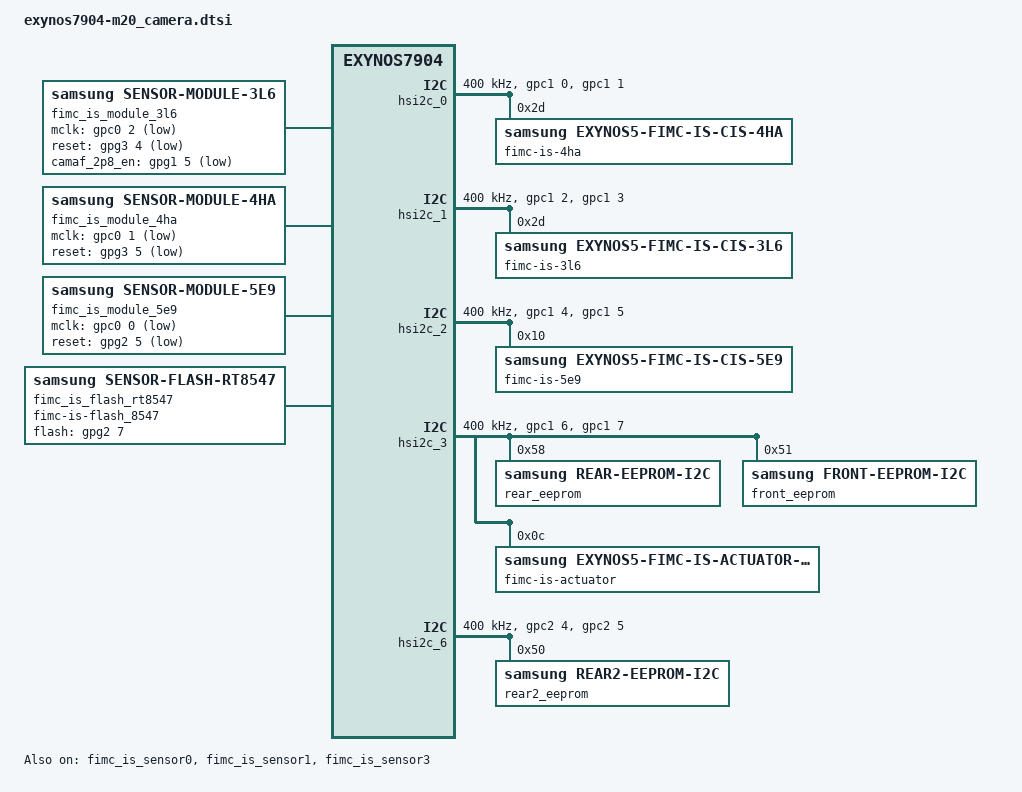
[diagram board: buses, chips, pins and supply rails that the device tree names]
/*
 * SAMSUNG EXYNOS7885 board camera device tree source
 *
 * Copyright (c) 2018 Samsung Electronics Co., Ltd.
 *		http://www.samsung.com
 *
 * This program is free software; you can redistribute it and/or modify
 * it under the terms of the GNU General Public License version 2 as
 * published by the Free Software Foundation.
 */

#include <dt-bindings/camera/fimc_is.h>

/ {
	fragment@camera {
		target-path = "/";
		__overlay__ {
			fimc_is_module_3l6: fimc-is_sensor_3l6@2D {
				compatible = "samsung,sensor-module-3l6";

				use_pdaf; /* when USE_AP_PDAF is enabled, use for pdaf sensor */

				pinctrl-names = "pin0", "pin1", "pin2", "release";
				pinctrl-0 = <>;
				pinctrl-1 = <&fimc_is_mclk2_out>;
				pinctrl-2 = <&fimc_is_mclk2_fn>;
				pinctrl-3 = <>;

				position = <0>;					/* Rear:0. Front:1 */
				id = <0>; 						/* bns_id */
				mclk_ch = <2>;					/* XCI0_MCLK */
				sensor_i2c_ch = <1>;				/* HSI2C1 */

				gpio_mclk = <&gpc0 2 0x1>;			/* RCAM1_RCAM2_MCLK - XCI0_MCLK */
				gpio_reset = <&gpg3 4 0x1>;			/* RCAM1_RST_N - XGPIO24 */
				gpio_camaf_2p8_en = <&gpg1 5 0x1>;	/* RCAM1_AFVDD_2P8_EN*/
				status = "okay";

				af {
					product_name = <19>;			/* ACTUATOR_NAME_DW9808 */
					i2c_addr = <0x18>;
					i2c_ch = <3>;
				};

				flash {
					product_name = <16>; /* FLADRV_NAME_RT8547 */
					flash_first_gpio = <2>;
					flash_second_gpio = <1>;
				};
			};

			fimc_is_module_4ha: fimc-is_sensor_4ha@6C {
				compatible = "samsung,sensor-module-4ha";

				pinctrl-names = "pin0", "pin1", "pin2", "release";
				pinctrl-0 = <>;
				pinctrl-1 = <&fimc_is_mclk1_out>;
				pinctrl-2 = <&fimc_is_mclk1_fn>;
				pinctrl-3 = <>;

				position = <1>;				/* Rear:0. Front:1 .. Rear3:6*/
				id = <1>;					/* bns_id */
				mclk_ch = <1>;
				sensor_i2c_ch = <0>;
				num_of_lanes=<4>;			/*  LANES_1:1, LANES_2:2, LANES_3:3, LANES_4:4 */

				gpio_mclk = <&gpc0 1 0x1>;				/* FCAM_MCLK*/
				gpio_reset = <&gpg3 5 0x1>;				/* RCAM3_RST_N */
				status = "okay";
			};

			fimc_is_module_5e9: fimc-is_sensor_5e9@10 {
				compatible = "samsung,sensor-module-5e9";

				pinctrl-names = "pin0", "pin1", "pin2", "release";
				pinctrl-0 = <>;
				pinctrl-1 = <&fimc_is_mclk0_in>;
				pinctrl-2 = <&fimc_is_mclk0_fn>;
				pinctrl-3 = <>;

				position = <2>;                 /* Rear2: 2 */
				id = <2>;                       /* fimc_is_sensor id */
				mclk_ch = <0>;
				sensor_i2c_ch = <2>;						/* HSI2C3 */

				gpio_mclk = <&gpc0 0 0x1>;					/* RCAM1_RCAM2_MCLK - XCI0_MCLK */
				gpio_reset = <&gpg2 5 0x1>;					/* RCAM2_RST_N - XGPIO17 */
				status = "okay";
			};

			fimc_is_flash_rt8547: fimc-is-flash_8547@0 {
				compatible = "samsung,sensor-flash-rt8547";
				id = <0>; /* Rear  */
				status = "okay";
				flash-gpio = <&gpg2 7 0>;	/* CAM_FLASH_EN - XGPIO19 */
			};

			leds_rt8547 {
				compatible = "rt8547";
				status = "okay";
				flash_control = <&gpg0 1 0x1>;
				flash_en = <&gpg2 7 0x1>;
				flash_current = <1500>; /* Max = 1600mA */
				movie_current = <200>; /* Max = 400mA */
				factory_current = <350>; /* Max = 400mA */
				pre_current = <275>; /* Max = 400mA */
			};
		}; /* end of __overlay__ */
	}; /* end of fragment */
}; /* end of root */


/***** reference symbol node *****/
&fimc_is {
	pinctrl-names = "default","release";
	pinctrl-0 = <&fimc_is_mclk0_out &fimc_is_mclk1_out &fimc_is_mclk2_out>;
	pinctrl-1 = <>;

	sensor_common_cfg {
		use_csi_dma_split;
	};

	vender {
		rear_sensor_id = <59>; /* SENSOR_NAME_S5K3L6 */
		front_sensor_id = <39>;		/* SENSOR_NAME_S5K4HA */
		rear2_sensor_id = <41>;	/* SENSOR_NAME_S5K5E9 */

		//need_i2c_config;
		use_module_check;
		//check_sensor_vendor;
		//skip_cal_loading;
		max_supported_camera = <3>;
		supported_cameraId = <0 1 50>;

		max_camera_num = <3>;
		camera_info0 {				/* 0 : rear - SENSOR_NAME_IMX576 */
			isp = <0>;				/* 0 : INT , 1 : EXT , 2 : SOC */
			cal_memory = <2>;			/* 0 : N , 1 : FROM , 2 : EEPROM , 3 : OTP  */
			read_version = <0>;		/* 0 : SYSFS , 1 : CAMON */
			core_voltage = <0>;		/* 0 : N , 1 : Y  */
			upgrade = <0>;			/* 0 : N , 1 : SYSFS , 2 : CAMON */
			companion = <0>;			/* 0 : N , 1 : Y  */
			ois = <0>;				/* 0 : N , 1 : Y  */
			valid = <1>;				/* 0 : INVALID, 1 : VALID */
			dual_open = <0>;			/* 0 : SINGLE_OPEN , 1 : DUAL_OPEN */
			position = <0>;			/* 0 : Rear, 1:Front, 2:Rear2, 3:Front2, 4:Rear3 */
		};
		camera_info1 {				/* 1 : front1 - SENSOR_NAME_IMX576 */
			isp = <0>;				/* 0 : INT , 1 : EXT , 2 : SOC */
			cal_memory = <2>;			/* 0 : N , 1 : FROM , 2 : EEPROM , 3 : OTP  */
			read_version = <0>;		/* 0 : SYSFS , 1 : CAMON */
			core_voltage = <0>;		/* 0 : N , 1 : Y  */
			upgrade = <0>;			/* 0 : N , 1 : SYSFS , 2 : CAMON */
			companion = <0>;			/* 0 : N , 1 : Y  */
			ois = <0>;				/* 0 : N , 1 : Y  */
			valid = <1>;				/* 0 : INVALID, 1 : VALID */
			dual_open = <0>;			/* 0 : SINGLE_OPEN , 1 : DUAL_OPEN */
			position = <1>;			/* 0 : Rear, 1:Front, 2:Rear2, 3:Front2, 4:Rear3 */
		};
		camera_info2 {				/* 1 : rear3 - SENSOR_NAME_S5K5E9 */
			isp = <0>;				/* 0 : INT , 1 : EXT , 2 : SOC */
			cal_memory = <2>;			/* 0 : N , 1 : FROM , 2 : EEPROM , 3 : OTP  */
			read_version = <0>;		/* 0 : SYSFS , 1 : CAMON */
			core_voltage = <0>;		/* 0 : N , 1 : Y  */
			upgrade = <0>;			/* 0 : N , 1 : SYSFS , 2 : CAMON */
			companion = <0>;			/* 0 : N , 1 : Y  */
			ois = <0>;				/* 0 : N , 1 : Y  */
			valid = <1>;				/* 0 : INVALID, 1 : VALID */
			dual_open = <0>;			/* 0 : SINGLE_OPEN , 1 : DUAL_OPEN */
			position = <2>;			/* 0 : Rear, 1:Front, 2:Rear2, 3:Front2, 4:Rear3 */
		};

	};

	fimc_is_dvfs {
		/* TODO: DVFS level set */
		#define DVFS_INT_L0 533000
		#define DVFS_INT_L1 333000
		#define DVFS_INT_L2 267000
		#define DVFS_INT_L3 133000
		#define DVFS_INT_L4 107000

		#define DVFS_CAM_L0 690000
		#define DVFS_CAM_L1 680000
		#define DVFS_CAM_L2 670000
		#define DVFS_CAM_L3 660000
		#define DVFS_CAM_L4 650000

		#define DVFS_MIF_L0 2093000
		#define DVFS_MIF_L1 2002000
		#define DVFS_MIF_L2 1794000
		#define DVFS_MIF_L3 1539000
		#define DVFS_MIF_L4 1352000
		#define DVFS_MIF_L5 1014000
		#define DVFS_MIF_L6 845000
		#define DVFS_MIF_L7 676000
		#define DVFS_MIF_L8 546000
		#define DVFS_MIF_L9 420000

		table0 {
			desc = "default";

			default_int = <DVFS_INT_L0>;
			default_cam = <DVFS_CAM_L0>;
			default_mif = <DVFS_MIF_L0>;
			default_i2c = <0>;

			front_preview_int = <DVFS_INT_L4>;
			front_preview_cam = <DVFS_CAM_L0>;
			front_preview_mif = <DVFS_MIF_L4>;
			front_preview_i2c = <0>;

			front_capture_int = <DVFS_INT_L4>;
			front_capture_cam = <DVFS_CAM_L0>;
			front_capture_mif = <DVFS_MIF_L4>;
			front_capture_i2c = <0>;

			front_video_int = <DVFS_INT_L4>;
			front_video_cam = <DVFS_CAM_L0>;
			front_video_mif = <DVFS_MIF_L4>;
			front_video_i2c = <0>;

			front_vt1_int = <DVFS_INT_L4>;
			front_vt1_cam = <DVFS_CAM_L0>;
			front_vt1_mif = <DVFS_MIF_L7>;
			front_vt1_i2c = <0>;

			front_vt2_int = <DVFS_INT_L4>;
			front_vt2_cam = <DVFS_CAM_L0>;
			front_vt2_mif = <DVFS_MIF_L7>;
			front_vt2_i2c = <0>;

			front_vt4_int = <DVFS_INT_L4>;
			front_vt4_cam = <DVFS_CAM_L0>;
			front_vt4_mif = <DVFS_MIF_L7>;
			front_vt4_i2c = <0>;

			rear2_preview_fhd_int = <DVFS_INT_L4>;
			rear2_preview_fhd_cam = <DVFS_CAM_L3>;
			rear2_preview_fhd_mif = <DVFS_MIF_L4>;
			rear2_preview_fhd_i2c = <0>;
			rear2_preview_fhd_hpg = <1>;

			rear2_capture_int = <DVFS_INT_L4>;
			rear2_capture_cam = <DVFS_CAM_L3>;
			rear2_capture_mif = <DVFS_MIF_L3>;
			rear2_capture_i2c = <0>;
			rear2_capture_hpg = <1>;

			rear2_video_fhd_int = <DVFS_INT_L4>;
			rear2_video_fhd_cam = <DVFS_CAM_L3>;
			rear2_video_fhd_mif = <DVFS_MIF_L3>;
			rear2_video_fhd_i2c = <0>;
			rear2_video_fhd_hpg = <1>;

			rear2_video_fhd_capture_int = <DVFS_INT_L4>;
			rear2_video_fhd_capture_cam = <DVFS_CAM_L3>;
			rear2_video_fhd_capture_mif = <DVFS_MIF_L3>;
			rear2_video_fhd_capture_i2c = <0>;
			rear2_video_fhd_capture_hpg = <1>;

			rear_preview_fhd_int = <DVFS_INT_L4>;
			rear_preview_fhd_cam = <DVFS_CAM_L0>;
			rear_preview_fhd_mif = <DVFS_MIF_L3>;
			rear_preview_fhd_i2c = <0>;

			rear_capture_int = <DVFS_INT_L4>;
			rear_capture_cam = <DVFS_CAM_L0>;
			rear_capture_mif = <DVFS_MIF_L3>;
			rear_capture_i2c = <0>;

			rear_video_fhd_int = <DVFS_INT_L4>;
			rear_video_fhd_cam = <DVFS_CAM_L0>;
			rear_video_fhd_mif = <DVFS_MIF_L3>;
			rear_video_fhd_i2c = <0>;

			rear_video_uhd_int = <DVFS_INT_L4>;
			rear_video_uhd_cam = <DVFS_CAM_L0>;
			rear_video_uhd_mif = <DVFS_MIF_L1>;
			rear_video_uhd_i2c = <0>;

			rear_video_fhd_capture_int = <DVFS_INT_L4>;
			rear_video_fhd_capture_cam = <DVFS_CAM_L0>;
			rear_video_fhd_capture_mif = <DVFS_MIF_L3>;
			rear_video_fhd_capture_i2c = <0>;

			rear_video_uhd_capture_int = <DVFS_INT_L4>;
			rear_video_uhd_capture_cam = <DVFS_CAM_L0>;
			rear_video_uhd_capture_mif = <DVFS_MIF_L0>;
			rear_video_uhd_capture_i2c = <0>;

			dual_preview_int = <DVFS_INT_L4>;
			dual_preview_cam = <DVFS_CAM_L0>;
			dual_preview_mif = <DVFS_MIF_L2>;
			dual_preview_i2c = <0>;

			dual_capture_int = <DVFS_INT_L4>;
			dual_capture_cam = <DVFS_CAM_L0>;
			dual_capture_mif = <DVFS_MIF_L2>;
			dual_capture_i2c = <0>;

			dual_video_int = <DVFS_INT_L4>;
			dual_video_cam = <DVFS_CAM_L0>;
			dual_video_mif = <DVFS_MIF_L2>;
			dual_video_i2c = <0>;

			preview_high_speed_fps_int = <DVFS_INT_L4>;
			preview_high_speed_fps_cam = <DVFS_CAM_L0>;
			preview_high_speed_fps_mif = <DVFS_MIF_L5>;
			preview_high_speed_fps_i2c = <0>;

			video_high_speed_60fps_int = <DVFS_INT_L4>;
			video_high_speed_60fps_cam = <DVFS_CAM_L0>;
			video_high_speed_60fps_mif = <DVFS_MIF_L5>;
			video_high_speed_60fps_i2c = <0>;

			video_high_speed_120fps_int = <DVFS_INT_L4>;
			video_high_speed_120fps_cam = <DVFS_CAM_L0>;
			video_high_speed_120fps_mif = <DVFS_MIF_L5>;
			video_high_speed_120fps_i2c = <0>;

			max_int = <DVFS_INT_L0>;
			max_cam = <DVFS_CAM_L0>;
			max_mif = <DVFS_MIF_L0>;
			max_i2c = <0>;
		};

		table1 {
			desc = "DVFS table for HAL3";

			default_int = <DVFS_INT_L0>;
			default_cam = <DVFS_CAM_L0>;
			default_mif = <DVFS_MIF_L0>;
			default_i2c = <0>;

			front_preview_int = <DVFS_INT_L4>;
			front_preview_cam = <DVFS_CAM_L0>;
			front_preview_mif = <DVFS_MIF_L4>;
			front_preview_i2c = <0>;

			front_capture_int = <DVFS_INT_L4>;
			front_capture_cam = <DVFS_CAM_L0>;
			front_capture_mif = <DVFS_MIF_L4>;
			front_capture_i2c = <0>;

			front_video_int = <DVFS_INT_L4>;
			front_video_cam = <DVFS_CAM_L0>;
			front_video_mif = <DVFS_MIF_L4>;
			front_video_i2c = <0>;

			front_vt1_int = <DVFS_INT_L4>;
			front_vt1_cam = <DVFS_CAM_L0>;
			front_vt1_mif = <DVFS_MIF_L5>;
			front_vt1_i2c = <0>;

			front_vt2_int = <DVFS_INT_L4>;
			front_vt2_cam = <DVFS_CAM_L0>;
			front_vt2_mif = <DVFS_MIF_L5>;
			front_vt2_i2c = <0>;

			front_vt4_int = <DVFS_INT_L4>;
			front_vt4_cam = <DVFS_CAM_L0>;
			front_vt4_mif = <DVFS_MIF_L5>;
			front_vt4_i2c = <0>;

			rear2_preview_fhd_int = <DVFS_INT_L4>;
			rear2_preview_fhd_cam = <DVFS_CAM_L3>;
			rear2_preview_fhd_mif = <DVFS_MIF_L4>;
			rear2_preview_fhd_i2c = <0>;
			rear2_preview_fhd_hpg = <1>;

			rear2_capture_int = <DVFS_INT_L4>;
			rear2_capture_cam = <DVFS_CAM_L3>;
			rear2_capture_mif = <DVFS_MIF_L3>;
			rear2_capture_i2c = <0>;
			rear2_capture_hpg = <1>;

			rear2_video_fhd_int = <DVFS_INT_L4>;
			rear2_video_fhd_cam = <DVFS_CAM_L3>;
			rear2_video_fhd_mif = <DVFS_MIF_L3>;
			rear2_video_fhd_i2c = <0>;
			rear2_video_fhd_hpg = <1>;

			rear2_video_fhd_capture_int = <DVFS_INT_L4>;
			rear2_video_fhd_capture_cam = <DVFS_CAM_L3>;
			rear2_video_fhd_capture_mif = <DVFS_MIF_L3>;
			rear2_video_fhd_capture_i2c = <0>;
			rear2_video_fhd_capture_hpg = <1>;

			rear_preview_fhd_int = <DVFS_INT_L4>;
			rear_preview_fhd_cam = <DVFS_CAM_L0>;
			rear_preview_fhd_mif = <DVFS_MIF_L2>;
			rear_preview_fhd_i2c = <0>;

			rear_capture_int = <DVFS_INT_L4>;
			rear_capture_cam = <DVFS_CAM_L0>;
			rear_capture_mif = <DVFS_MIF_L2>;
			rear_capture_i2c = <0>;

			rear_video_fhd_int = <DVFS_INT_L4>;
			rear_video_fhd_cam = <DVFS_CAM_L0>;
			rear_video_fhd_mif = <DVFS_MIF_L2>;
			rear_video_fhd_i2c = <0>;

			rear_video_uhd_int = <DVFS_INT_L4>;
			rear_video_uhd_cam = <DVFS_CAM_L0>;
			rear_video_uhd_mif = <DVFS_MIF_L1>;
			rear_video_uhd_i2c = <0>;

			rear_video_fhd_capture_int = <DVFS_INT_L4>;
			rear_video_fhd_capture_cam = <DVFS_CAM_L0>;
			rear_video_fhd_capture_mif = <DVFS_MIF_L3>;
			rear_video_fhd_capture_i2c = <0>;

			rear_video_uhd_capture_int = <DVFS_INT_L4>;
			rear_video_uhd_capture_cam = <DVFS_CAM_L0>;
			rear_video_uhd_capture_mif = <DVFS_MIF_L0>;
			rear_video_uhd_capture_i2c = <0>;

			dual_preview_int = <DVFS_INT_L4>;
			dual_preview_cam = <DVFS_CAM_L0>;
			dual_preview_mif = <DVFS_MIF_L2>;
			dual_preview_i2c = <0>;

			dual_capture_int = <DVFS_INT_L4>;
			dual_capture_cam = <DVFS_CAM_L0>;
			dual_capture_mif = <DVFS_MIF_L2>;
			dual_capture_i2c = <0>;

			dual_video_int = <DVFS_INT_L4>;
			dual_video_cam = <DVFS_CAM_L0>;
			dual_video_mif = <DVFS_MIF_L2>;
			dual_video_i2c = <0>;

			preview_high_speed_fps_int = <DVFS_INT_L4>;
			preview_high_speed_fps_cam = <DVFS_CAM_L0>;
			preview_high_speed_fps_mif = <DVFS_MIF_L5>;
			preview_high_speed_fps_i2c = <0>;

			video_high_speed_60fps_int = <DVFS_INT_L4>;
			video_high_speed_60fps_cam = <DVFS_CAM_L0>;
			video_high_speed_60fps_mif = <DVFS_MIF_L5>;
			video_high_speed_60fps_i2c = <0>;

			video_high_speed_120fps_int = <DVFS_INT_L4>;
			video_high_speed_120fps_cam = <DVFS_CAM_L0>;
			video_high_speed_120fps_mif = <DVFS_MIF_L5>;
			video_high_speed_120fps_i2c = <0>;

			max_int = <DVFS_INT_L0>;
			max_cam = <DVFS_CAM_L0>;
			max_mif = <DVFS_MIF_L0>;
			max_i2c = <0>;
		};
	};
};

/* fimc_is_sensor0 - XMIPI_CSI4LA */
&fimc_is_sensor0 {
	scenario = <SENSOR_SCENARIO_NORMAL>;	/* Normal, Vision, OIS etc */
	id = <0>;
	csi_ch = <1>;
	flite_ch = <FLITE_ID_NOTHING>;
	is_bns = <0>;
	is_flite = <0>;
	status = "okay";

	//use_ssvc1_internal; /* just use for pdaf sensor */
};

/* fimc_is_sensor1 - XMIPI_CSI4LB */
&fimc_is_sensor1 {
	scenario = <SENSOR_SCENARIO_NORMAL>;	/* Normal, Vision, OIS etc */
	id = <1>;
	csi_ch = <0>;
	flite_ch = <FLITE_ID_NOTHING>;
	is_bns = <0>;
	is_flite = <0>;
	status = "okay";
};

/* fimc_is_sensor2 - XMIPI_CSI4LC */
&fimc_is_sensor2 {
	scenario = <SENSOR_SCENARIO_NORMAL>;	/* Normal, Vision, OIS etc */
	id = <3>;
	csi_ch = <2>;
	flite_ch = <FLITE_ID_NOTHING>;
	is_bns = <0>;
	is_flite = <0>;
	status = "disabled";
};

/* fimc_is_sensor3 - XMIPI_CSI2L */
&fimc_is_sensor3 {
	scenario = <SENSOR_SCENARIO_NORMAL>;	/* Normal, Vision, OIS etc */
	id = <2>;
	csi_ch = <3>;
	flite_ch = <FLITE_ID_NOTHING>;
	is_bns = <0>;
	is_flite = <0>;
	status = "okay";
};

/* hsi2c_0: hsi2c@138A0000 */
&hsi2c_0 {
	#address-cells = <1>;
	#size-cells = <0>;
	gpios = <&gpc1 0 0 &gpc1 1 0>;	/* SDA - SCL */
	status = "okay";
	clock-frequency = <400000>;

	samsung,scl-extended-low-period;
	samsung,reset-before-trans;

	pinctrl-names = "on_i2c";
	pinctrl-0 = <&hs_i2c0_bus>;

	fimc-is-4ha@2D {
		compatible = "samsung,exynos5-fimc-is-cis-4ha";
		reg = <0x2D>;				/* 1 bit right shift : 7bit address */
		id = <1>;
		num_of_lanes=<4>;			/*  LANES_1:1, LANES_2:2, LANES_3:3, LANES_4:4 */
		sensor_f_number = <200>;		/* f number 2.0 */
		setfile = "setB";			/* MIPI CLK changed to 684.67 in J7Duo */
		use_initial_ae;				/* for initial AE */
	};
};

/* hsi2c_1: hsi2c@138B0000 */
&hsi2c_1 {
	#address-cells = <1>;
	#size-cells = <0>;
	gpios = <&gpc1 2 0 &gpc1 3 0>;	/* SDA - SCL */
	status = "okay";
	clock-frequency = <400000>;

	samsung,scl-extended-low-period;
	samsung,reset-before-trans;

	pinctrl-names = "on_i2c";
	pinctrl-0 = <&hs_i2c1_bus>;

	fimc-is-3l6@2D {
		compatible = "samsung,exynos5-fimc-is-cis-3l6";
		reg = <0x2D>;				/* 1 bit right shift */
		id = <0>;					/* matching sensor id */
		sensor_f_number = <190>;	/* f number 1.9 */
		setfile = "setB";
	};
};

/* hsi2c_2: hsi2c@138C0000 */
&hsi2c_2 {
	#address-cells = <1>;
	#size-cells = <0>;
	gpios = <&gpc1 4 0 &gpc1 5 0>;
	status = "okay";
	clock-frequency = <400000>;

	samsung,scl-extended-low-period;
	samsung,reset-before-trans;

	pinctrl-names = "on_i2c";
	pinctrl-0 = <&hs_i2c2_bus>;

	fimc-is-5e9@10{
		compatible = "samsung,exynos5-fimc-is-cis-5e9";
		reg = <0x10>;				/* 1 bit right shift */
		id = <2>;					/* matching sensor id */
		sensor_f_number = <220>;	/* f number 2.2 */
		setfile = "setB";
	};
};

/* hsi2c_3: hsi2c@138D0000 */
&hsi2c_3 {
	#address-cells = <1>;
	#size-cells = <0>;
	gpios = <&gpc1 6 0 &gpc1 7 0>;	/* SDA - SCL */
	status = "okay";
	clock-frequency = <400000>;

	samsung,scl-extended-low-period;
	samsung,reset-before-trans;

	pinctrl-names = "on_i2c";
	pinctrl-0 = <&hs_i2c3_bus>;

	rear_eeprom@B0 {
		compatible = "samsung,rear-eeprom-i2c";
		reg = <0x58>;		/* 7bit-addr */
	};

	front_eeprom@A2 {
		compatible = "samsung,front-eeprom-i2c";
		reg = <0x51>;		/* 7bit-addr */
	};

	fimc-is-actuator@18 {
		compatible = "samsung,exynos5-fimc-is-actuator-dw9808";
		reg = <0x0C>;
		id = <0>;			/* matching sensor id */
		place = <0>;
	};
};

/* hsi2c_6: hsi2c@13940000 */
&hsi2c_6 {
	#address-cells = <1>;
	#size-cells = <0>;
	gpios = <&gpc2 4 0 &gpc2 5 0>;
	status = "okay";
	clock-frequency = <400000>;

	samsung,scl-extended-low-period;
	samsung,reset-before-trans;

	pinctrl-names = "on_i2c";
	pinctrl-0 = <&hs_i2c6_bus>;

	rear2_eeprom@50 {
		compatible = "samsung,rear2-eeprom-i2c";
		reg = <0x50>;
	};
};
